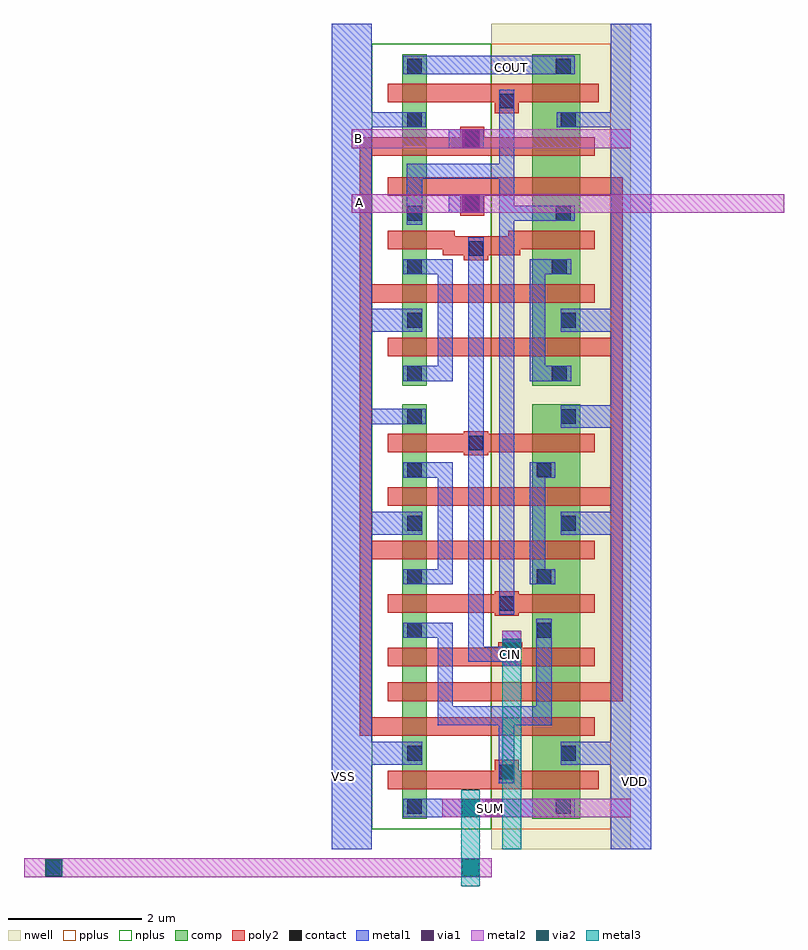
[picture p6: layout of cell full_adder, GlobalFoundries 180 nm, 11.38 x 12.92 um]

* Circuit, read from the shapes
.subckt full_adder A B CIN COUT SUM VDD VSS
XM1 VSS n1 SUM VSUBS nfet_03v3 w=0.36u l=0.28u
XM2 n2 B VSS VSUBS nfet_03v3 w=0.36u l=0.28u
XM3 n3 A n2 VSUBS nfet_03v3 w=0.36u l=0.28u
XM4 n1 CIN n3 VSUBS nfet_03v3 w=0.36u l=0.28u
XM5 n4 n5 n1 VSUBS nfet_03v3 w=0.36u l=0.28u
XM6 VSS B n4 VSUBS nfet_03v3 w=0.36u l=0.28u
XM7 n4 A VSS VSUBS nfet_03v3 w=0.36u l=0.28u
XM8 VSS CIN n4 VSUBS nfet_03v3 w=0.36u l=0.28u
XM9 VSS A n6 VSUBS nfet_03v3 w=0.36u l=0.28u
XM10 n6 B VSS VSUBS nfet_03v3 w=0.36u l=0.28u
XM11 n5 CIN n6 VSUBS nfet_03v3 w=0.36u l=0.28u
XM12 n7 A n5 VSUBS nfet_03v3 w=0.36u l=0.28u
XM13 VSS B n7 VSUBS nfet_03v3 w=0.36u l=0.28u
XM14 COUT n5 VSS VSUBS nfet_03v3 w=0.36u l=0.28u
XM15 VDD n1 SUM n8 pfet_03v3 w=0.72u l=0.28u
XM16 n9 B VDD n8 pfet_03v3 w=0.72u l=0.28u
XM17 n10 A n9 n8 pfet_03v3 w=0.72u l=0.28u
XM18 n1 CIN n10 n8 pfet_03v3 w=0.72u l=0.28u
XM19 n11 n5 n1 n8 pfet_03v3 w=0.72u l=0.28u
XM20 VDD B n11 n8 pfet_03v3 w=0.72u l=0.28u
XM21 n11 A VDD n8 pfet_03v3 w=0.72u l=0.28u
XM22 VDD CIN n11 n8 pfet_03v3 w=0.72u l=0.28u
XM23 VDD A n12 n8 pfet_03v3 w=0.72u l=0.28u
XM24 n12 B VDD n8 pfet_03v3 w=0.72u l=0.28u
XM25 n5 CIN n12 n8 pfet_03v3 w=0.72u l=0.28u
XM26 n13 A n5 n8 pfet_03v3 w=0.72u l=0.28u
XM27 VDD B n13 n8 pfet_03v3 w=0.72u l=0.28u
XM28 COUT n5 VDD n8 pfet_03v3 w=0.72u l=0.28u
.ends

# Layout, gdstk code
import gdstk
lib = gdstk.Library(unit=1e-6, precision=5e-09)
def R(c, l, rs):  # rectangles x0, y0, x1, y1
    for r in rs: c.add(gdstk.rectangle(r[:2], r[2:], *l))
def A(c, l, x, y, w, h, nx, ny, dx, dy):  # array of equal rectangles
    R(c, l, [(x+i*dx, y+j*dy, x+i*dx+w, y+j*dy+h) for i in range(nx) for j in range(ny)])
nwell = (21, 0)
comp = (22, 0)
poly2 = (30, 0)
pplus = (31, 0)
nplus = (32, 0)
contact = (33, 0)
metal1 = (34, 0)
via1 = (35, 0)
metal2 = (36, 0)
via2 = (38, 0)
metal3 = (42, 0)

full_adder = lib.new_cell('full_adder')
R(full_adder, nwell, [(-5.96,5.355,-3.87,17.715)])
R(full_adder, comp, [(-7.29,5.815,-6.93,12.015), (-5.35,5.815,-4.63,12.015), (-7.29,12.295,-6.93,17.255), (-5.35,12.295,-4.63,17.255)])
R(full_adder, poly2, [(-7.51,6.255,-4.35,6.535), (-5.91,6.335,-5.55,6.695), (-7.93,7.055,-7.75,16.015), (-7.75,7.055,-4.41,7.335), (-7.51,7.575,-4.17,7.855), (-4.17,7.575,-3.99,15.415), (-7.51,8.095,-4.41,8.375), (-5.86,8.095,-5.5,8.455), (-5.91,8.855,-5.55,9.215), (-7.51,8.895,-4.41,9.175), (-7.75,9.695,-4.41,9.975), (-7.51,10.495,-4.17,10.775), (-6.37,11.255,-6.01,11.615), (-7.51,11.295,-4.41,11.575), (-7.51,12.735,-4.17,13.015), (-7.75,13.535,-4.41,13.815), (-6.37,14.17,-6.01,14.53), (-6.69,14.25,-6.51,14.615), (-6.51,14.25,-5.71,14.53), (-5.71,14.25,-5.53,14.615), (-7.51,14.335,-6.69,14.615), (-5.53,14.335,-4.41,14.615), (-6.425,14.84,-6.065,15.2), (-7.51,15.135,-4.17,15.415), (-7.75,15.735,-4.41,16.015), (-6.425,15.81,-6.065,16.17), (-5.91,16.375,-5.55,16.735), (-7.51,16.535,-4.35,16.815)])
R(full_adder, pplus, [(-5.96,5.655,-4.17,17.415)])
R(full_adder, nplus, [(-7.75,5.655,-5.96,17.415)])
A(full_adder, contact, -7.22, 8.525, 0.22, 0.22, 1, 5, 0, 0.8)
A(full_adder, contact, -7.22, 12.365, 0.22, 0.22, 1, 4, 0, 0.8)
R(full_adder, contact, [(-7.22,5.885,-7,6.105), (-4.995,5.885,-4.775,6.105), (-5.84,6.405,-5.62,6.625), (-7.22,6.685,-7,6.905), (-4.92,6.685,-4.7,6.905), (-5.79,8.165,-5.57,8.385), (-5.28,8.525,-5.06,8.745), (-5.84,8.925,-5.62,9.145), (-5.28,9.325,-5.06,9.545), (-4.92,10.125,-4.7,10.345), (-5.28,10.925,-5.06,11.145), (-6.3,11.325,-6.08,11.545), (-4.92,11.725,-4.7,11.945), (-5.055,12.365,-4.835,12.585), (-4.92,13.165,-4.7,13.385), (-5.055,13.965,-4.835,14.185), (-6.3,14.24,-6.08,14.46), (-4.995,14.765,-4.775,14.985), (-6.355,14.91,-6.135,15.13), (-6.355,15.88,-6.135,16.1), (-7.22,16.165,-7,16.385), (-4.92,16.165,-4.7,16.385), (-5.84,16.445,-5.62,16.665), (-7.22,16.965,-7,17.185), (-4.995,16.965,-4.775,17.185)])
R(full_adder, metal1, [(-8.35,5.355,-7.75,17.715), (-4.17,5.355,-3.57,17.715), (-7.28,5.835,-4.715,6.115), (-5.85,6.345,-5.615,7.215), (-7.75,6.625,-6.995,6.965), (-4.925,6.625,-4.17,6.965), (-6.765,7.215,-6.535,8.52), (-6.535,7.215,-5.285,7.495), (-5.285,7.215,-5.055,8.805), (-5.795,8.105,-5.515,8.625), (-6.305,8.16,-6.075,14.52), (-6.075,8.16,-5.515,8.39), (-7.28,8.52,-6.535,8.75), (-5.845,8.865,-5.615,16.725), (-7.28,9.32,-6.535,9.55), (-5.385,9.32,-5,9.55), (-6.765,9.55,-6.535,10.92), (-5.385,9.55,-5.155,10.92), (-7.75,10.065,-6.995,10.405), (-4.925,10.065,-4.17,10.405), (-7.28,10.92,-6.535,11.15), (-5.385,10.92,-5,11.15), (-4.925,11.665,-4.17,12.005), (-7.75,11.72,-6.94,11.95), (-7.28,12.36,-6.535,12.59), (-5.385,12.36,-4.765,12.59), (-6.765,12.59,-6.535,13.96), (-5.385,12.59,-5.155,13.96), (-7.75,13.105,-6.995,13.445), (-4.925,13.105,-4.17,13.445), (-7.28,13.96,-6.535,14.19), (-5.385,13.96,-4.765,14.19), (-7.225,14.705,-6.995,15.62), (-5.615,14.76,-4.715,14.99), (-6.595,14.88,-6.075,15.16), (-6.995,15.39,-5.845,15.62), (-6.595,15.85,-6.075,16.13), (-7.75,16.16,-6.94,16.39), (-4.98,16.16,-4.17,16.39), (-7.28,16.955,-4.715,17.235)])
R(full_adder, via1, [(-6.05,5.845,-5.79,6.105), (-5.785,8.235,-5.525,8.495), (-6.395,14.89,-6.135,15.15), (-6.395,15.86,-6.135,16.12)])
R(full_adder, metal2, [(-12.955,4.94,-5.955,5.22), (-6.695,5.835,-3.87,6.115), (-5.795,8.105,-5.515,8.625), (-8.05,14.88,-1.58,15.16), (-8.05,15.85,-3.87,16.13)])
R(full_adder, via2, [(-12.64,4.95,-12.38,5.21), (-6.4,4.95,-6.14,5.21), (-6.4,5.845,-6.14,6.105), (-5.785,8.185,-5.525,8.445)])
R(full_adder, metal3, [(-6.41,4.8,-6.13,6.25), (-5.795,5.355,-5.515,8.505)])
full_adder.add(gdstk.Label('COUT', (-5.655,17.06), layer=34, texttype=10))
full_adder.add(gdstk.Label('CIN', (-5.68,8.275), layer=34, texttype=10))
full_adder.add(gdstk.Label('SUM', (-5.98,5.97), layer=34, texttype=10))
full_adder.add(gdstk.Label('VSS', (-8.17,6.45), layer=34, texttype=10))
full_adder.add(gdstk.Label('VDD', (-3.82,6.375), layer=34, texttype=10))
full_adder.add(gdstk.Label('A', (-7.935,15.03), layer=36, texttype=10))
full_adder.add(gdstk.Label('B', (-7.945,15.99), layer=36, texttype=10))

lib.write_gds('full_adder.gds')
